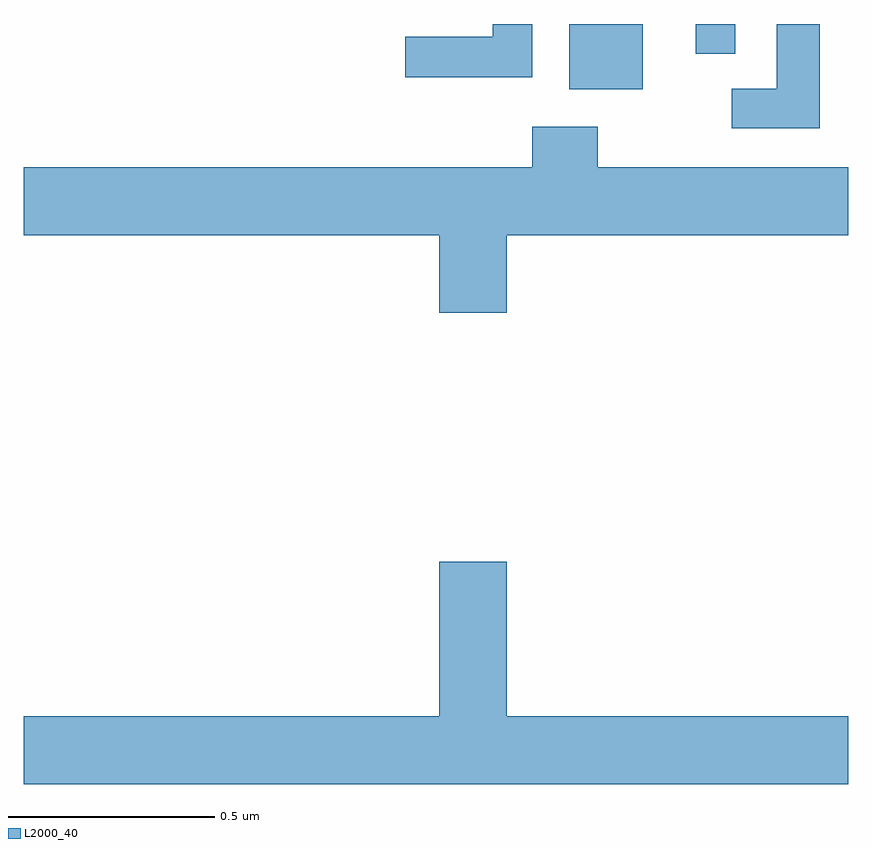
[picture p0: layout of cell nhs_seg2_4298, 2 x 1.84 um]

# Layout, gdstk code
import gdstk
lib = gdstk.Library(unit=1e-6, precision=1e-09)
def R(c, l, rs):  # rectangles x0, y0, x1, y1
    for r in rs: c.add(gdstk.rectangle(r[:2], r[2:], *l))
def P(c, l, *ps):  # polygons
    for p in ps: c.add(gdstk.Polygon(p, *l))
L2000_40 = (2000, 40)

nhs_seg2_4298 = lib.new_cell('nhs_seg2_4298')
R(nhs_seg2_4298, L2000_40, [(165.323,662.642,165.502,662.8), (165.63,662.728,165.726,662.8)])
P(nhs_seg2_4298, L2000_40, [(165.234,662.8),(165.138,662.8),(165.138,662.769),(164.925,662.769),(164.925,662.671),(165.234,662.671)],
  [(165.931,662.8),(165.827,662.8),(165.827,662.643),(165.717,662.643),(165.717,662.547),(165.931,662.547)],
  [(165.172,662.288),(166,662.288),(166,662.452),(165.393,662.452),(165.393,662.551),(165.233,662.551),(165.233,662.452),(164,662.452),(164,662.288),(165.008,662.288),(165.008,662.1),(165.172,662.1)],
  [(166,661.12),(165.172,661.12),(165.172,661.495),(165.008,661.495),(165.008,661.12),(164,661.12),(164,660.956),(166,660.956)])

lib.write_gds('nhs_seg2_4298.gds')
